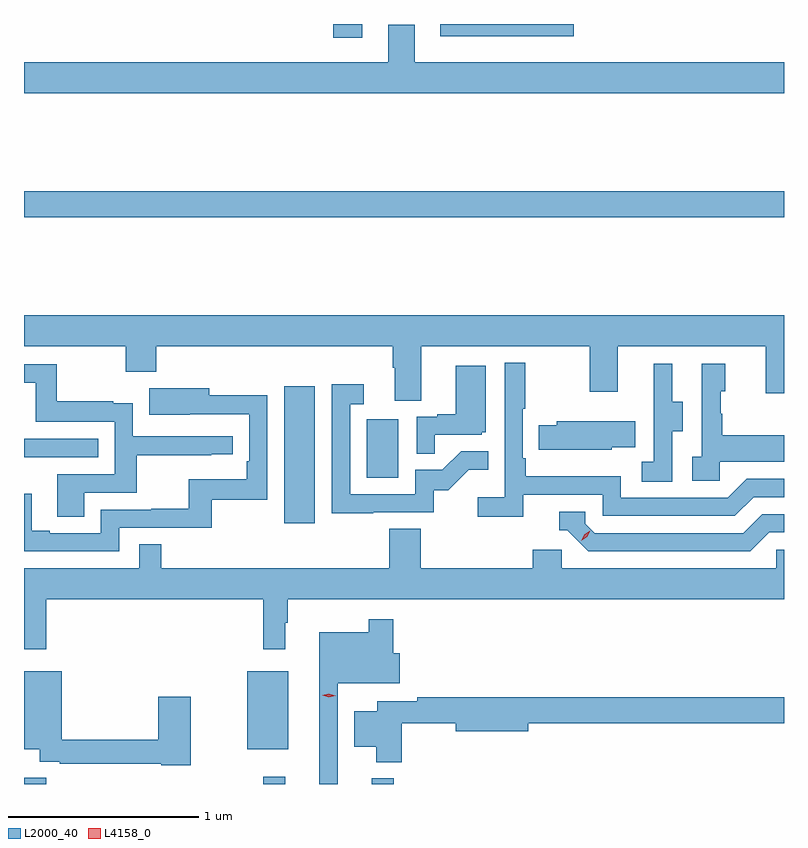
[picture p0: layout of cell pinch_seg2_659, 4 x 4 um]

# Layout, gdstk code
import gdstk
lib = gdstk.Library(unit=1e-6, precision=1e-09)
def R(c, l, rs):  # rectangles x0, y0, x1, y1
    for r in rs: c.add(gdstk.rectangle(r[:2], r[2:], *l))
def P(c, l, *ps):  # polygons
    for p in ps: c.add(gdstk.Polygon(p, *l))
L2000_40 = (2000, 40)
L4158_0 = (4158, 0)

pinch_seg2_659 = lib.new_cell('pinch_seg2_659')
R(pinch_seg2_659, L2000_40, [(1043.301,593.384,1043.417,593.417), (1044.559,593.384,1044.677,593.422), (1045.13,593.384,1045.247,593.413), (1044.476,593.567,1044.691,593.977), (1044.671,594.756,1044.832,595.477), (1045.106,594.996,1045.27,595.303), (1043.301,595.104,1043.693,595.2), (1043.301,596.368,1047.301,596.504), (1044.929,597.312,1045.081,597.384), (1045.493,597.32,1046.194,597.384)])
P(pinch_seg2_659, L2000_40, [(1047.301,597.184),(1045.357,597.184),(1045.357,597.379),(1045.217,597.379),(1045.217,597.184),(1043.301,597.184),(1043.301,597.02),(1047.301,597.02)],
  [(1045.393,595.688),(1046.278,595.688),(1046.278,595.449),(1046.425,595.449),(1046.425,595.688),(1047.206,595.688),(1047.206,595.44),(1047.301,595.44),(1047.301,595.852),(1043.301,595.852),(1043.301,595.688),(1043.836,595.688),(1043.836,595.553),(1043.996,595.553),(1043.996,595.688),(1045.241,595.688),(1045.241,595.576),(1045.253,595.576),(1045.253,595.402),(1045.393,595.402)],
  [(1045.928,594.906),(1046.346,594.906),(1046.346,594.795),(1047.043,594.795),(1047.142,594.894),(1047.301,594.894),(1047.301,594.99),(1047.105,594.99),(1047.006,594.891),(1046.442,594.891),(1046.442,595.003),(1045.943,595.003),(1045.943,595.099),(1045.926,595.099),(1045.926,595.36),(1045.939,595.36),(1045.939,595.6),(1045.83,595.6),(1045.83,594.892),(1045.689,594.892),(1045.689,594.79),(1045.928,594.79)],
  [(1046.964,595.079),(1047.301,595.079),(1047.301,595.219),(1046.977,595.219),(1046.977,595.334),(1046.967,595.334),(1046.967,595.452),(1046.992,595.452),(1046.992,595.597),(1046.868,595.597),(1046.868,595.106),(1046.817,595.106),(1046.817,594.981),(1046.964,594.981)],
  [(1046.712,595.24),(1046.767,595.24),(1046.767,595.395),(1046.713,595.395),(1046.713,595.597),(1046.615,595.597),(1046.615,595.383),(1046.616,595.383),(1046.616,595.079),(1046.553,595.079),(1046.553,594.976),(1046.712,594.976)],
  [(1043.617,594.918),(1043.894,594.918),(1043.894,595.114),(1044.287,595.114),(1044.287,595.119),(1044.4,595.119),(1044.4,595.215),(1043.874,595.215),(1043.874,595.387),(1043.771,595.387),(1043.771,595.399),(1043.473,595.399),(1043.473,595.593),(1043.301,595.593),(1043.301,595.496),(1043.362,595.496),(1043.362,595.29),(1043.778,595.29),(1043.778,595.014),(1043.477,595.014),(1043.477,594.79),(1043.617,594.79)],
  [(1045.463,595.221),(1045.71,595.221),(1045.71,595.236),(1045.732,595.236),(1045.732,595.585),(1045.574,595.585),(1045.574,595.33),(1045.475,595.33),(1045.475,595.317),(1045.368,595.317),(1045.368,595.123),(1045.463,595.123)],
  [(1045.139,594.813),(1045.458,594.813),(1045.458,594.93),(1045.534,594.93),(1045.641,595.037),(1045.745,595.037),(1045.745,595.136),(1045.601,595.136),(1045.503,595.038),(1045.359,595.038),(1045.359,594.909),(1045.017,594.909),(1045.017,595.383),(1045.09,595.383),(1045.09,595.489),(1044.921,595.489),(1044.921,594.808),(1045.139,594.808)],
  [(1043.802,594.732),(1044.289,594.732),(1044.289,594.879),(1044.582,594.879),(1044.582,595.43),(1044.277,595.43),(1044.277,595.468),(1043.959,595.468),(1043.959,595.328),(1044.173,595.328),(1044.173,595.329),(1044.486,595.329),(1044.486,595.084),(1044.473,595.084),(1044.473,594.988),(1044.168,594.988),(1044.168,594.833),(1043.971,594.833),(1043.971,594.828),(1043.706,594.828),(1043.706,594.705),(1043.437,594.705),(1043.437,594.718),(1043.341,594.718),(1043.341,594.911),(1043.301,594.911),(1043.301,594.609),(1043.802,594.609)],
  [(1046.394,595.157),(1046.519,595.157),(1046.519,595.294),(1046.105,595.294),(1046.105,595.272),(1046.011,595.272),(1046.011,595.143),(1046.122,595.143),(1046.122,595.142),(1046.394,595.142)],
  [(1047.223,594.708),(1047.301,594.708),(1047.301,594.804),(1047.186,594.804),(1047.087,594.705),(1046.304,594.705),(1046.256,594.753),(1046.256,594.816),(1046.117,594.816),(1046.117,594.72),(1046.16,594.72),(1046.271,594.609),(1047.124,594.609)],
  [(1043.417,594.356),(1044.559,594.356),(1044.559,594.093),(1044.676,594.093),(1044.676,594.233),(1044.688,594.233),(1044.688,594.356),(1047.301,594.356),(1047.301,594.618),(1047.261,594.618),(1047.261,594.52),(1046.13,594.52),(1046.13,594.618),(1045.978,594.618),(1045.978,594.52),(1045.388,594.52),(1045.388,594.728),(1045.223,594.728),(1045.223,594.52),(1044.023,594.52),(1044.023,594.647),(1043.907,594.647),(1043.907,594.52),(1043.301,594.52),(1043.301,594.093),(1043.417,594.093)],
  [(1044.951,593.915),(1045.279,593.915),(1045.279,594.073),(1045.244,594.073),(1045.244,594.25),(1045.116,594.25),(1045.116,594.184),(1044.854,594.184),(1044.854,593.384),(1044.951,593.384)],
  [(1044.178,593.842),(1044.008,593.842),(1044.008,593.618),(1043.5,593.618),(1043.5,593.977),(1043.301,593.977),(1043.301,593.567),(1043.384,593.567),(1043.384,593.502),(1043.488,593.502),(1043.488,593.49),(1044.024,593.49),(1044.024,593.482),(1044.178,593.482)],
  [(1045.289,593.704),(1045.574,593.704),(1045.574,593.662),(1045.954,593.662),(1045.954,593.704),(1047.301,593.704),(1047.301,593.84),(1045.372,593.84),(1045.372,593.82),(1045.16,593.82),(1045.16,593.767),(1045.04,593.767),(1045.04,593.579),(1045.154,593.579),(1045.154,593.498),(1045.289,593.498)])
P(pinch_seg2_659, L4158_0, [(1044.905,593.84),(1044.87,593.852),(1044.869,593.852),(1044.87,593.852),(1044.906,593.86),(1044.941,593.848),(1044.941,593.848),(1044.941,593.848)],
  [(1046.235,594.665),(1046.235,594.665),(1046.251,594.698),(1046.281,594.718),(1046.281,594.718),(1046.281,594.718),(1046.266,594.685),(1046.235,594.665)])

lib.write_gds('pinch_seg2_659.gds')
